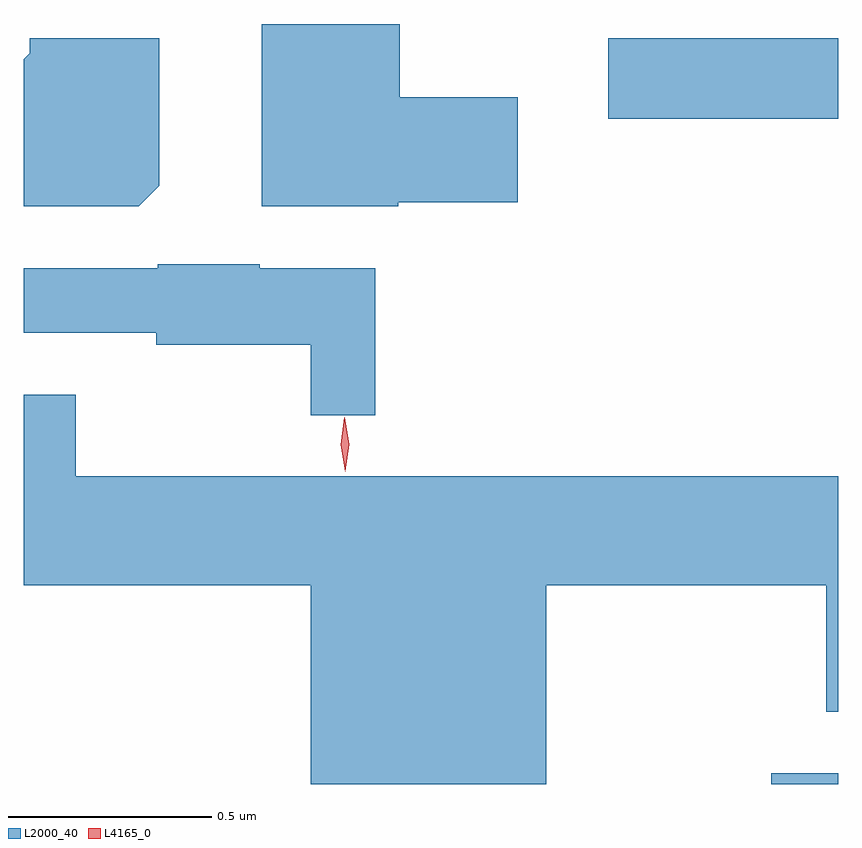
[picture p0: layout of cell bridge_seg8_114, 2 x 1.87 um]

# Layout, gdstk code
import gdstk
lib = gdstk.Library(unit=1e-6, precision=1e-09)
def R(c, l, rs):  # rectangles x0, y0, x1, y1
    for r in rs: c.add(gdstk.rectangle(r[:2], r[2:], *l))
def P(c, l, *ps):  # polygons
    for p in ps: c.add(gdstk.Polygon(p, *l))
L2000_40 = (2000, 40)
L4165_0 = (4165, 0)

bridge_seg8_114 = lib.new_cell('bridge_seg8_114')
R(bridge_seg8_114, L2000_40, [(1505.856,1822.608,1506.021,1822.634), (1505.456,1824.241,1506.021,1824.439)])
P(bridge_seg8_114, L2000_40, [(1504.94,1824.036),(1505.234,1824.036),(1505.234,1824.294),(1504.944,1824.294),(1504.944,1824.474),(1504.606,1824.474),(1504.606,1824.026),(1504.94,1824.026)],
  [(1504.354,1824.077),(1504.354,1824.439),(1504.036,1824.439),(1504.036,1824.402),(1504.021,1824.387),(1504.021,1824.026),(1504.304,1824.026)],
  [(1504.884,1823.874),(1504.6,1823.874),(1504.6,1823.884),(1504.35,1823.884),(1504.35,1823.874),(1504.021,1823.874),(1504.021,1823.716),(1504.346,1823.716),(1504.346,1823.686),(1504.726,1823.686),(1504.726,1823.513),(1504.884,1823.513)],
  [(1505.304,1823.096),(1505.991,1823.096),(1505.991,1822.786),(1506.021,1822.786),(1506.021,1823.364),(1504.149,1823.364),(1504.149,1823.564),(1504.021,1823.564),(1504.021,1823.096),(1504.726,1823.096),(1504.726,1822.608),(1505.304,1822.608)])
P(bridge_seg8_114, L4165_0, [(1504.81,1823.375),(1504.81,1823.376),(1504.8,1823.441),(1504.808,1823.507),(1504.809,1823.508),(1504.809,1823.507),(1504.82,1823.442),(1504.811,1823.376)])

lib.write_gds('bridge_seg8_114.gds')
